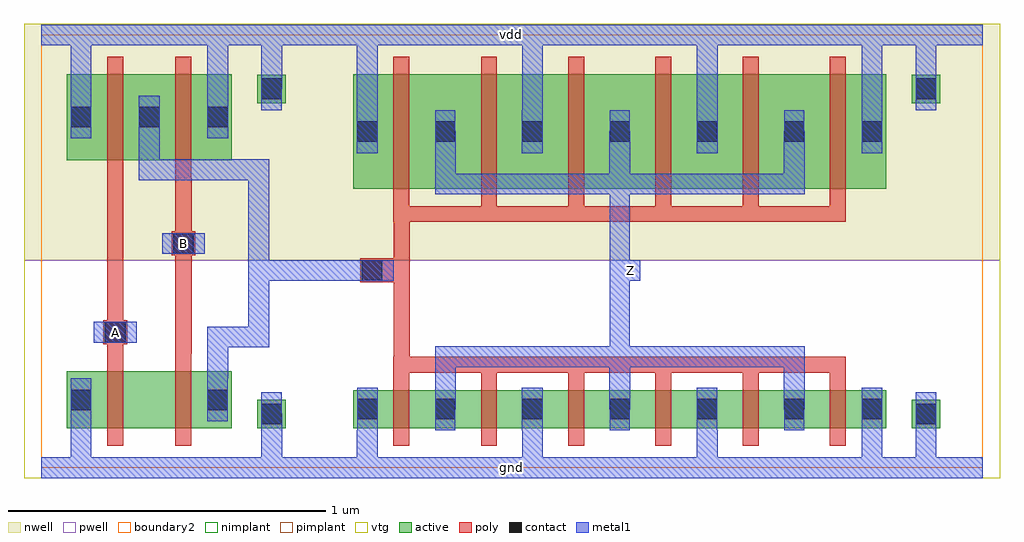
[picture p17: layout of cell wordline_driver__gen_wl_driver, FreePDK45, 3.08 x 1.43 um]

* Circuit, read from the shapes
.subckt wordline_driver__gen_wl_driver A B Z gnd vdd
M1 wordline_driver__sram_1rw_32x16_freepdk45_pnand2_0/wordline_driver__sram_1rw_32x16_freepdk45_nmos_m1_w0_180_sm1_dactive_2/D A gnd gnd nfet w=0.18u l=0.05u
M2 wordline_driver__sram_1rw_32x16_freepdk45_pnand2_0/wordline_driver__sram_1rw_32x16_freepdk45_nmos_m1_w0_180_sactive_dm1_3/D B wordline_driver__sram_1rw_32x16_freepdk45_pnand2_0/wordline_driver__sram_1rw_32x16_freepdk45_nmos_m1_w0_180_sm1_dactive_2/D gnd nfet w=0.18u l=0.05u
M3 Z wordline_driver__sram_1rw_32x16_freepdk45_pinv_0_1/A gnd gnd nfet w=0.12u l=0.05u m=4
M4 gnd wordline_driver__sram_1rw_32x16_freepdk45_pinv_0_1/A Z gnd nfet w=0.12u l=0.049u
M5 Z wordline_driver__sram_1rw_32x16_freepdk45_pinv_0_1/A gnd gnd nfet w=0.12u l=0.051u
M6 wordline_driver__sram_1rw_32x16_freepdk45_pinv_0_1/A A vdd vdd pfet w=0.27u l=0.05u
M7 vdd B wordline_driver__sram_1rw_32x16_freepdk45_pinv_0_1/A vdd pfet w=0.27u l=0.05u
M8 Z wordline_driver__sram_1rw_32x16_freepdk45_pinv_0_1/A vdd vdd pfet w=0.36u l=0.05u m=4
M9 vdd wordline_driver__sram_1rw_32x16_freepdk45_pinv_0_1/A Z vdd pfet w=0.36u l=0.049u
M10 Z wordline_driver__sram_1rw_32x16_freepdk45_pinv_0_1/A vdd vdd pfet w=0.36u l=0.051u
.ends

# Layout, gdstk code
import gdstk
lib = gdstk.Library(unit=1e-6, precision=1e-09)
def R(c, l, rs):  # rectangles x0, y0, x1, y1
    for r in rs: c.add(gdstk.rectangle(r[:2], r[2:], *l))
active = (1, 0)
pwell = (2, 0)
nwell = (3, 0)
nimplant = (4, 0)
pimplant = (5, 0)
vtg = (6, 0)
poly = (9, 0)
contact = (10, 0)
metal1 = (11, 0)
boundary2 = (239, 0)

wordline_driver__sram_1r = lib.new_cell('wordline_driver__sram_1rw_32x16_freepdk45_contact_11')
R(wordline_driver__sram_1r, active, [(0,0.022,0.09,0.112)])
R(wordline_driver__sram_1r, nwell, [(-0.055,-0.033,0.145,0.168)])
R(wordline_driver__sram_1r, pimplant, [(0,0.022,0.09,0.112)])
R(wordline_driver__sram_1r, contact, [(0.013,0.035,0.077,0.1)])
R(wordline_driver__sram_1r, metal1, [(0.013,0,0.077,0.135)])
R(wordline_driver__sram_1r, boundary2, [(-0.055,-0.033,0.145,0.168)])

c_wordline_driver__sram_1r = lib.new_cell('wordline_driver__sram_1rw_32x16_freepdk45_pmos_m1_w0_270_sm1_dm1')
R(c_wordline_driver__sram_1r, active, [(0,0,0.305,0.27)])
R(c_wordline_driver__sram_1r, nwell, [(-0.08,-0.08,0.385,0.35)])
R(c_wordline_driver__sram_1r, pimplant, [(0,0,0.305,0.27)])
R(c_wordline_driver__sram_1r, vtg, [(-0.08,-0.08,0.385,0.35)])
R(c_wordline_driver__sram_1r, poly, [(0.127,-0.055,0.177,0.325), (0.127,-0.055,0.177,0.325)])
R(c_wordline_driver__sram_1r, metal1, [(0.013,0.068,0.077,0.203), (0.227,0.068,0.292,0.203)])
R(c_wordline_driver__sram_1r, boundary2, [(-0.08,-0.08,0.385,0.35)])
c_wordline_driver__sram_1r.add(gdstk.Reference(wordline_driver__sram_1r, (0,0.068)))
c_wordline_driver__sram_1r.add(gdstk.Reference(wordline_driver__sram_1r, (0.215,0.068)))
c_wordline_driver__sram_1r.add(gdstk.Label('G', (0.152,0.135), layer=9, texttype=0))
c_wordline_driver__sram_1r.add(gdstk.Label('S', (0.045,0.135), layer=11, texttype=0))
c_wordline_driver__sram_1r.add(gdstk.Label('D', (0.26,0.135), layer=11, texttype=0))

c_wordline_driver__sram_1r_ = lib.new_cell('wordline_driver__sram_1rw_32x16_freepdk45_contact_10')
R(c_wordline_driver__sram_1r_, active, [(0,0.022,0.09,0.112)])
R(c_wordline_driver__sram_1r_, pwell, [(-0.055,-0.033,0.145,0.168)])
R(c_wordline_driver__sram_1r_, nimplant, [(0,0.022,0.09,0.112)])
R(c_wordline_driver__sram_1r_, contact, [(0.013,0.035,0.077,0.1)])
R(c_wordline_driver__sram_1r_, metal1, [(0.013,0,0.077,0.135)])
R(c_wordline_driver__sram_1r_, boundary2, [(-0.055,-0.033,0.145,0.168)])

c_wordline_driver__sram_1r__ = lib.new_cell('wordline_driver__sram_1rw_32x16_freepdk45_nmos_m1_w0_180_sm1_dactive')
R(c_wordline_driver__sram_1r__, active, [(0,0,0.305,0.18), (0.215,0.045,0.305,0.135)])
R(c_wordline_driver__sram_1r__, pwell, [(-0.08,-0.08,0.385,0.26)])
R(c_wordline_driver__sram_1r__, nimplant, [(0,0,0.305,0.18)])
R(c_wordline_driver__sram_1r__, vtg, [(-0.08,-0.08,0.385,0.26)])
R(c_wordline_driver__sram_1r__, poly, [(0.127,-0.055,0.177,0.235), (0.127,-0.055,0.177,0.235)])
R(c_wordline_driver__sram_1r__, metal1, [(0.013,0.022,0.077,0.157)])
R(c_wordline_driver__sram_1r__, boundary2, [(-0.08,-0.08,0.385,0.26)])
c_wordline_driver__sram_1r__.add(gdstk.Reference(c_wordline_driver__sram_1r_, (0,0.022)))
c_wordline_driver__sram_1r__.add(gdstk.Label('G', (0.152,0.09), layer=9, texttype=0))
c_wordline_driver__sram_1r__.add(gdstk.Label('S', (0.045,0.09), layer=11, texttype=0))
c_wordline_driver__sram_1r__.add(gdstk.Label('D', (0.26,0.09), layer=1, texttype=0))

c_wordline_driver__sram_1r___ = lib.new_cell('wordline_driver__sram_1rw_32x16_freepdk45_nmos_m1_w0_180_sactive_dm1')
R(c_wordline_driver__sram_1r___, active, [(0,0,0.305,0.18), (0,0.045,0.09,0.135)])
R(c_wordline_driver__sram_1r___, pwell, [(-0.08,-0.08,0.385,0.26)])
R(c_wordline_driver__sram_1r___, nimplant, [(0,0,0.305,0.18)])
R(c_wordline_driver__sram_1r___, vtg, [(-0.08,-0.08,0.385,0.26)])
R(c_wordline_driver__sram_1r___, poly, [(0.127,-0.055,0.177,0.235), (0.127,-0.055,0.177,0.235)])
R(c_wordline_driver__sram_1r___, metal1, [(0.227,0.022,0.292,0.157)])
R(c_wordline_driver__sram_1r___, boundary2, [(-0.08,-0.08,0.385,0.26)])
c_wordline_driver__sram_1r___.add(gdstk.Reference(c_wordline_driver__sram_1r_, (0.215,0.022)))
c_wordline_driver__sram_1r___.add(gdstk.Label('G', (0.152,0.09), layer=9, texttype=0))
c_wordline_driver__sram_1r___.add(gdstk.Label('S', (0.045,0.09), layer=1, texttype=0))
c_wordline_driver__sram_1r___.add(gdstk.Label('D', (0.26,0.09), layer=11, texttype=0))

c_wordline_driver__sram_1r____ = lib.new_cell('wordline_driver__sram_1rw_32x16_freepdk45_contact_12')
R(c_wordline_driver__sram_1r____, active, [(0,0.022,0.09,0.112)])
R(c_wordline_driver__sram_1r____, nwell, [(-0.055,-0.033,0.145,0.168)])
R(c_wordline_driver__sram_1r____, nimplant, [(0,0.022,0.09,0.112)])
R(c_wordline_driver__sram_1r____, contact, [(0.013,0.035,0.077,0.1)])
R(c_wordline_driver__sram_1r____, metal1, [(0.013,0,0.077,0.135)])
R(c_wordline_driver__sram_1r____, boundary2, [(-0.055,-0.033,0.145,0.168)])

c_wordline_driver__sram_1r_____ = lib.new_cell('wordline_driver__sram_1rw_32x16_freepdk45_contact_13')
R(c_wordline_driver__sram_1r_____, active, [(0,0.022,0.09,0.112)])
R(c_wordline_driver__sram_1r_____, pwell, [(-0.055,-0.033,0.145,0.168)])
R(c_wordline_driver__sram_1r_____, pimplant, [(0,0.022,0.09,0.112)])
R(c_wordline_driver__sram_1r_____, contact, [(0.013,0.035,0.077,0.1)])
R(c_wordline_driver__sram_1r_____, metal1, [(0.013,0,0.077,0.135)])
R(c_wordline_driver__sram_1r_____, boundary2, [(-0.055,-0.033,0.145,0.168)])

c_wordline_driver__sram_1r______ = lib.new_cell('wordline_driver__sram_1rw_32x16_freepdk45_contact_14')
R(c_wordline_driver__sram_1r______, poly, [(0.03,0,0.105,0.075)])
R(c_wordline_driver__sram_1r______, contact, [(0.035,0.005,0.1,0.07)])
R(c_wordline_driver__sram_1r______, metal1, [(0,0.005,0.135,0.07)])
R(c_wordline_driver__sram_1r______, boundary2, [(0,0,0.135,0.075)])

c_wordline_driver__sram_1r_______ = lib.new_cell('wordline_driver__sram_1rw_32x16_freepdk45_pnand2')
R(c_wordline_driver__sram_1r_______, pwell, [(-0.055,-0.033,0.957,0.655)])
R(c_wordline_driver__sram_1r_______, nwell, [(-0.055,0.655,0.957,1.4)])
R(c_wordline_driver__sram_1r_______, vtg, [(-0.055,-0.033,0.957,0.655), (-0.055,0.655,0.957,1.4)])
R(c_wordline_driver__sram_1r_______, poly, [(0.208,0.36,0.258,0.915), (0.422,0.36,0.473,0.915), (0.208,0.39,0.232,0.465), (0.422,0.67,0.447,0.745)])
R(c_wordline_driver__sram_1r_______, metal1, [(0,-0.033,0.902,0.033), (0.092,-0.033,0.157,0.147), (0.692,0,0.758,0.17), (0.522,0.283,0.588,0.413), (0.522,0.38,0.588,0.445), (0.555,0.38,0.685,0.445), (0.652,0.38,0.718,0.445), (0.165,0.395,0.3,0.46), (0.652,0.413,0.718,0.94), (0.38,0.675,0.515,0.74), (0.307,0.907,0.372,0.972), (0.34,0.907,0.685,0.972), (0.652,0.907,0.718,0.972), (0.307,0.94,0.372,1.038), (0.092,1.038,0.157,1.397), (0.522,1.038,0.588,1.397), (0.692,1.195,0.758,1.365), (0,1.332,0.902,1.397)])
R(c_wordline_driver__sram_1r_______, boundary2, [(0,0,0.902,1.365), (0,0,0.902,1.365)])
c_wordline_driver__sram_1r_______.add(gdstk.Reference(c_wordline_driver__sram_1r, (0.08,0.97)))
c_wordline_driver__sram_1r_______.add(gdstk.Reference(c_wordline_driver__sram_1r, (0.295,0.97)))
c_wordline_driver__sram_1r_______.add(gdstk.Reference(c_wordline_driver__sram_1r__, (0.08,0.125)))
c_wordline_driver__sram_1r_______.add(gdstk.Reference(c_wordline_driver__sram_1r___, (0.295,0.125)))
c_wordline_driver__sram_1r_______.add(gdstk.Reference(c_wordline_driver__sram_1r____, (0.68,1.127)))
c_wordline_driver__sram_1r_______.add(gdstk.Reference(c_wordline_driver__sram_1r_____, (0.68,0.103)))
c_wordline_driver__sram_1r_______.add(gdstk.Reference(c_wordline_driver__sram_1r______, (0.165,0.39)))
c_wordline_driver__sram_1r_______.add(gdstk.Reference(c_wordline_driver__sram_1r______, (0.38,0.67)))
c_wordline_driver__sram_1r_______.add(gdstk.Label('Z', (0.685,0.94), layer=11, texttype=0))
c_wordline_driver__sram_1r_______.add(gdstk.Label('gnd', (0.45,0), layer=11, texttype=0))
c_wordline_driver__sram_1r_______.add(gdstk.Label('vdd', (0.45,1.365), layer=11, texttype=0))
c_wordline_driver__sram_1r_______.add(gdstk.Label('A', (0.232,0.427), layer=11, texttype=0))
c_wordline_driver__sram_1r_______.add(gdstk.Label('B', (0.447,0.707), layer=11, texttype=0))

c_wordline_driver__sram_1r________ = lib.new_cell('wordline_driver__sram_1rw_32x16_freepdk45_pmos_m6_w0_360_sm1_dm1_da_p')
R(c_wordline_driver__sram_1r________, active, [(0,0,1.68,0.36)])
R(c_wordline_driver__sram_1r________, nwell, [(-0.08,-0.08,1.76,0.44)])
R(c_wordline_driver__sram_1r________, pimplant, [(0,0,1.68,0.36)])
R(c_wordline_driver__sram_1r________, vtg, [(-0.08,-0.08,1.76,0.44)])
R(c_wordline_driver__sram_1r________, poly, [(0.127,-0.105,1.552,-0.055), (0.127,-0.055,0.177,0.415), (0.403,-0.055,0.452,0.415), (0.677,-0.055,0.728,0.415), (0.952,-0.055,1.002,0.415), (1.228,-0.055,1.278,0.415), (1.502,-0.055,1.552,0.415)])
R(c_wordline_driver__sram_1r________, metal1, [(0.258,-0.018,1.423,0.047), (0.258,0.015,0.323,0.18), (0.807,0.015,0.873,0.18), (1.357,0.015,1.423,0.18), (0.013,0.112,0.077,0.247), (0.532,0.112,0.598,0.247), (1.083,0.112,1.147,0.247), (1.602,0.112,1.667,0.247)])
R(c_wordline_driver__sram_1r________, boundary2, [(-0.08,-0.105,1.76,0.44)])
c_wordline_driver__sram_1r________.add(gdstk.Reference(wordline_driver__sram_1r, (0,0.112)))
c_wordline_driver__sram_1r________.add(gdstk.Reference(wordline_driver__sram_1r, (0.245,0.112)))
c_wordline_driver__sram_1r________.add(gdstk.Reference(wordline_driver__sram_1r, (0.52,0.112)))
c_wordline_driver__sram_1r________.add(gdstk.Reference(wordline_driver__sram_1r, (0.795,0.112)))
c_wordline_driver__sram_1r________.add(gdstk.Reference(wordline_driver__sram_1r, (1.07,0.112)))
c_wordline_driver__sram_1r________.add(gdstk.Reference(wordline_driver__sram_1r, (1.345,0.112)))
c_wordline_driver__sram_1r________.add(gdstk.Reference(wordline_driver__sram_1r, (1.59,0.112)))
c_wordline_driver__sram_1r________.add(gdstk.Label('G', (0.84,-0.08), layer=9, texttype=0))
c_wordline_driver__sram_1r________.add(gdstk.Label('S', (1.635,0.18), layer=11, texttype=0))
c_wordline_driver__sram_1r________.add(gdstk.Label('S', (1.115,0.18), layer=11, texttype=0))
c_wordline_driver__sram_1r________.add(gdstk.Label('S', (0.045,0.18), layer=11, texttype=0))
c_wordline_driver__sram_1r________.add(gdstk.Label('S', (0.565,0.18), layer=11, texttype=0))
c_wordline_driver__sram_1r________.add(gdstk.Label('D', (0.84,0.015), layer=11, texttype=0))

c_wordline_driver__sram_1r_________ = lib.new_cell('wordline_driver__sram_1rw_32x16_freepdk45_nmos_m6_w0_120_sm1_dm1_da_p')
R(c_wordline_driver__sram_1r_________, active, [(0,0,1.68,0.12)])
R(c_wordline_driver__sram_1r_________, pwell, [(-0.08,-0.08,1.76,0.2)])
R(c_wordline_driver__sram_1r_________, nimplant, [(0,0,1.68,0.12)])
R(c_wordline_driver__sram_1r_________, vtg, [(-0.08,-0.08,1.76,0.2)])
R(c_wordline_driver__sram_1r_________, poly, [(0.127,-0.055,0.177,0.175), (0.403,-0.055,0.452,0.175), (0.677,-0.055,0.728,0.175), (0.952,-0.055,1.002,0.175), (1.228,-0.055,1.278,0.175), (1.502,-0.055,1.552,0.175), (0.127,0.175,1.552,0.225)])
R(c_wordline_driver__sram_1r_________, metal1, [(0.013,-0.007,0.077,0.127), (0.532,-0.007,0.598,0.127), (1.083,-0.007,1.147,0.127), (1.602,-0.007,1.667,0.127), (0.258,0.06,0.323,0.225), (0.807,0.06,0.873,0.225), (1.357,0.06,1.423,0.225), (0.258,0.192,1.423,0.258)])
R(c_wordline_driver__sram_1r_________, boundary2, [(-0.08,-0.08,1.76,0.258)])
c_wordline_driver__sram_1r_________.add(gdstk.Reference(c_wordline_driver__sram_1r_, (0,-0.007)))
c_wordline_driver__sram_1r_________.add(gdstk.Reference(c_wordline_driver__sram_1r_, (0.245,-0.007)))
c_wordline_driver__sram_1r_________.add(gdstk.Reference(c_wordline_driver__sram_1r_, (0.52,-0.007)))
c_wordline_driver__sram_1r_________.add(gdstk.Reference(c_wordline_driver__sram_1r_, (0.795,-0.007)))
c_wordline_driver__sram_1r_________.add(gdstk.Reference(c_wordline_driver__sram_1r_, (1.07,-0.007)))
c_wordline_driver__sram_1r_________.add(gdstk.Reference(c_wordline_driver__sram_1r_, (1.345,-0.007)))
c_wordline_driver__sram_1r_________.add(gdstk.Reference(c_wordline_driver__sram_1r_, (1.59,-0.007)))
c_wordline_driver__sram_1r_________.add(gdstk.Label('G', (0.84,0.2), layer=9, texttype=0))
c_wordline_driver__sram_1r_________.add(gdstk.Label('S', (1.115,0.06), layer=11, texttype=0))
c_wordline_driver__sram_1r_________.add(gdstk.Label('S', (0.565,0.06), layer=11, texttype=0))
c_wordline_driver__sram_1r_________.add(gdstk.Label('S', (0.045,0.06), layer=11, texttype=0))
c_wordline_driver__sram_1r_________.add(gdstk.Label('S', (1.635,0.06), layer=11, texttype=0))
c_wordline_driver__sram_1r_________.add(gdstk.Label('D', (0.84,0.225), layer=11, texttype=0))

c_wordline_driver__sram_1r__________ = lib.new_cell('wordline_driver__sram_1rw_32x16_freepdk45_pinv_0')
R(c_wordline_driver__sram_1r__________, pwell, [(-0.055,-0.033,2.118,0.655)])
R(c_wordline_driver__sram_1r__________, nwell, [(-0.055,0.655,2.118,1.4)])
R(c_wordline_driver__sram_1r__________, vtg, [(-0.055,-0.033,2.118,0.655), (-0.055,0.655,2.118,1.4)])
R(c_wordline_driver__sram_1r__________, poly, [(0.208,0.35,0.258,0.775), (0.14,0.585,0.208,0.66)])
R(c_wordline_driver__sram_1r__________, metal1, [(0,-0.033,2.062,0.033), (0.092,-0.033,0.157,0.118), (0.613,-0.033,0.677,0.118), (1.163,-0.033,1.228,0.118), (1.683,-0.033,1.747,0.118), (1.852,0,1.917,0.17), (0.888,0.317,0.952,0.927), (0.072,0.59,0.208,0.655), (0.92,0.59,0.985,0.655), (0.092,0.992,0.157,1.397), (0.613,0.992,0.677,1.397), (1.163,0.992,1.228,1.397), (1.683,0.992,1.747,1.397), (1.852,1.195,1.917,1.365), (0,1.332,2.062,1.397)])
R(c_wordline_driver__sram_1r__________, boundary2, [(0,0,2.062,1.365), (0,0,2.062,1.365)])
c_wordline_driver__sram_1r__________.add(gdstk.Reference(c_wordline_driver__sram_1r________, (0.08,0.88)))
c_wordline_driver__sram_1r__________.add(gdstk.Reference(c_wordline_driver__sram_1r_________, (0.08,0.125)))
c_wordline_driver__sram_1r__________.add(gdstk.Reference(c_wordline_driver__sram_1r____, (1.84,1.127)))
c_wordline_driver__sram_1r__________.add(gdstk.Reference(c_wordline_driver__sram_1r_____, (1.84,0.103)))
c_wordline_driver__sram_1r__________.add(gdstk.Reference(c_wordline_driver__sram_1r______, (0.072,0.585)))
c_wordline_driver__sram_1r__________.add(gdstk.Label('A', (0.14,0.623), layer=11, texttype=0))
c_wordline_driver__sram_1r__________.add(gdstk.Label('Z', (0.952,0.623), layer=11, texttype=0))
c_wordline_driver__sram_1r__________.add(gdstk.Label('gnd', (1.03,0), layer=11, texttype=0))
c_wordline_driver__sram_1r__________.add(gdstk.Label('vdd', (1.03,1.365), layer=11, texttype=0))

wordline_driver__gen_wl_ = lib.new_cell('wordline_driver__gen_wl_driver')
R(wordline_driver__gen_wl_, metal1, [(0,-0.033,2.965,0.033), (0.165,0.395,0.3,0.46), (0.652,0.59,0.718,0.655), (0.685,0.59,1.042,0.655), (1.822,0.59,1.887,0.655), (0.652,0.623,0.718,0.94), (0.38,0.675,0.515,0.74), (0,1.332,2.965,1.397)])
R(wordline_driver__gen_wl_, boundary2, [(0,0,2.965,1.365)])
wordline_driver__gen_wl_.add(gdstk.Reference(c_wordline_driver__sram_1r_______, (0,0)))
wordline_driver__gen_wl_.add(gdstk.Reference(c_wordline_driver__sram_1r__________, (0.902,0)))
wordline_driver__gen_wl_.add(gdstk.Label('Z', (1.855,0.623), layer=11, texttype=0))
wordline_driver__gen_wl_.add(gdstk.Label('A', (0.232,0.427), layer=11, texttype=0))
wordline_driver__gen_wl_.add(gdstk.Label('B', (0.447,0.707), layer=11, texttype=0))
wordline_driver__gen_wl_.add(gdstk.Label('gnd', (1.482,0), layer=11, texttype=0))
wordline_driver__gen_wl_.add(gdstk.Label('vdd', (1.482,1.365), layer=11, texttype=0))

lib.write_gds('wordline_driver__gen_wl_driver.gds')
